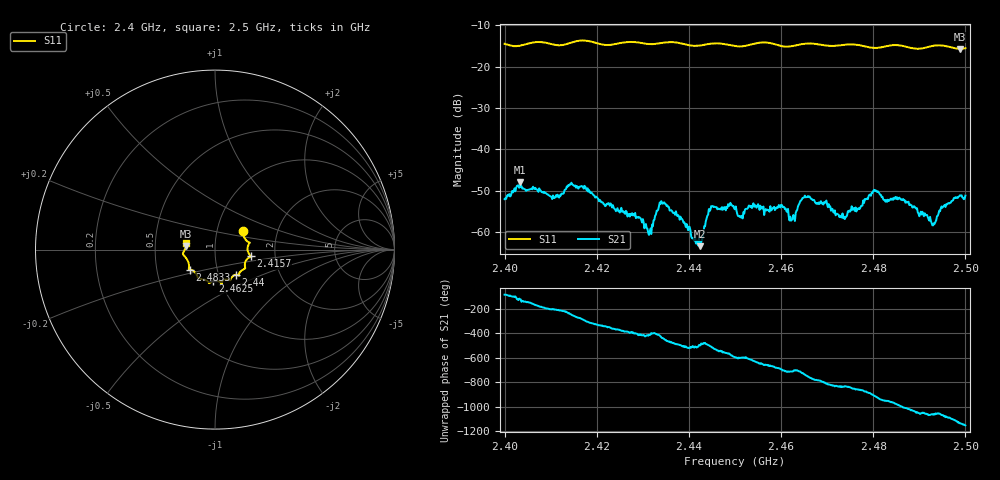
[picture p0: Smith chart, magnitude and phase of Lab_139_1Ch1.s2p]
# Hz S RI R 50
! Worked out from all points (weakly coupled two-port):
!   601 points, 2.4 GHz to 2.5 GHz, reference 50 ohm
!   highest |S21| = -47.97 dB at 2.4033 GHz (marker M1); lowest = -63.4 dB at 2.4423 GHz (marker M2)
!   lowest |S11| = -15.7 dB at 2.4988 GHz (marker M3), VSWR 1.39, Z = 36 + j1.38 ohm
!   |S11| at or under -10 dB: start of sweep to end of sweep
!   S12 and S22 are empty: the file has one direction only
!   S11 on the Smith chart (normalised r, x): 2.4 GHz: 1.33, +0.29; 2.4157 GHz: 1.49, -0.12; 2.44 GHz: 1.20, -0.35; 2.4625 GHz: 0.92, -0.34; 2.4833 GHz: 0.74, -0.17; 2.5 GHz: 0.72, +0.06
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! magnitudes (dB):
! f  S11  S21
! 2.4 GHz  -14.5  -52.0
! 2.4033 GHz  -15.0  -48.0
! 2.4105 GHz  -14.7  -51.1
! 2.4157 GHz  -13.8  -48.9
! 2.4167 GHz  -13.7  -48.9
! 2.4313 GHz  -14.6  -60.7
! 2.4333 GHz  -14.4  -54.6
! 2.435 GHz  -14.2  -53.3
! 2.44 GHz  -14.8  -58.6
! 2.4423 GHz  -14.9  -63.4
! 2.4448 GHz  -14.5  -53.7
! 2.45 GHz  -15.0  -54.5
! 2.46 GHz  -15.0  -53.4
! 2.4625 GHz  -15.0  -56.8
! 2.4647 GHz  -14.6  -51.8
! 2.4667 GHz  -14.4  -52.0
! 2.4735 GHz  -14.8  -56.6
! 2.4802 GHz  -15.5  -49.8
! 2.4833 GHz  -15.0  -52.5
! 2.493 GHz  -15.0  -58.4
! 2.4988 GHz  -15.7  -51.1
! 2.5 GHz  -15.6  -51.2
